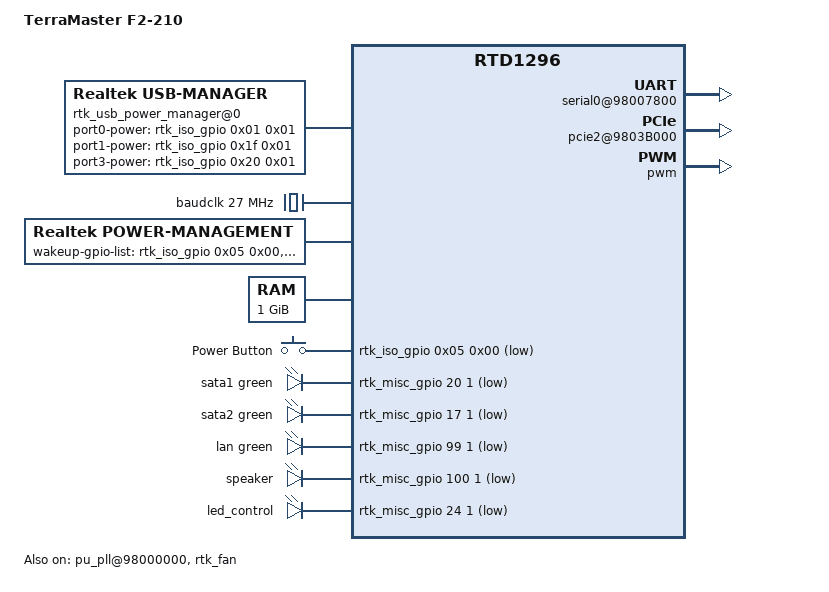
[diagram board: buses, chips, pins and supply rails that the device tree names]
// SPDX-License-Identifier: (GPL-2.0-or-later OR BSD-2-Clause)
/*
 * TerraMaster F2-210 devicetree
 * Copyright (c) 2021 Celliwig
 */

/dts-v1/;

#include <memory/rtd129x,memory.h>

/memreserve/ SYS_BOOTCODE_MEMBASE SYS_BOOTCODE_MEMSIZE;
/memreserve/ RPC_COMM_PHYS RPC_COMM_SIZE;
/memreserve/ RPC_RINGBUF_PHYS RPC_RINGBUF_SIZE;
/memreserve/ ROOTFS_NORMAL_START ROOTFS_NORMAL_SIZE;
/memreserve/ ACPU_IDMEM_PHYS ACPU_IDMEM_SIZE;
/memreserve/ TEE_OS_PHYS TEE_OS_SIZE;

#include <rtd-1296.dtsi>
#include <gpio/gpio.h>
#include <leds/common.h>

/ {
	compatible = "terramaster,f2-210", "realtek,rtd1296";
	model = "TerraMaster F2-210";

	aliases {
		serial0 = &uart0;
	};

	cpus {
		A53_0: cpu@0 {
			enable-method = "spin-table";
			cpu-release-addr = <0x0 0x0001E000>;
		};

		A53_1: cpu@1 {
			enable-method = "spin-table";
			cpu-release-addr = <0x0 0x0001E000>;
		};

		A53_2: cpu@2 {
			enable-method = "spin-table";
			cpu-release-addr = <0x0 0x0001E000>;
		};

		A53_3: cpu@3 {
			enable-method = "spin-table";
			cpu-release-addr = <0x0 0x0001E000>;
		};
	};

	pinctrl@9801A000 {
		pinctrl-names = "default";
		pinctrl-0 = <&sdcard_pins_low>,
			<&sdcard_pins_high>,
			<&uart0_pins>,
			<&uart1_pins>,
			<&uart2_pins_0>,
			<&i2c_pins_6>,
			<&pcie1_clk_pins>,
			<&pcie2_clk_pins>,
			<&rgmii0_pins>,
			<&ir_rx_pins>,
			<&ir_tx_pins>,
			<&spdif_pins>,
			<&spi_pins_loc_gpio>,
			<&pwm0_0_pins>,
			<&dc_fan_sensor_pins>,
			<&etn_led_pins>,
			<&gspi_pins>;
		status = "okay";
	};

	rtk_usb_power_manager@0 {
		compatible = "Realtek,usb-manager";
		realtek,port0-power-gpio = <&rtk_iso_gpio 0x01 0x01 0x00>;	/* USB DRD */
		realtek,port1-power-gpio = <&rtk_iso_gpio 0x1f 0x01 0x00>;	/* u2host power, output, default low */
		realtek,port3-power-gpio = <&rtk_iso_gpio 0x20 0x01 0x00>;	/* 1296 u3host power, output, default low */
		status = "okay";
	};

	firmware {
		optee {
			compatible = "linaro,optee-tz";
			method = "smc";
		};
	};

	arch_timer {
		clock-frequency = <27000000>;
	};

	rtk_misc_gpio: rtk_misc_gpio@9801b100 {
		gpios = <&rtk_misc_gpio 0x08 0x00 0x00>;
	};

	/* Add a fixed baudrate clock to make serial driver happy */
	baudclk: oscillator_27mhz {
		compatible = "fixed-clock";
		#clock-cells = <0>;
		clock-frequency = <27000000>;
		clock-output-names = "baudclk";
	};

//	uart0: serial0@98007800 {
//		compatible = "rtk,dw-apb-uart";
//		clocks = <&baudclk>, <&iclk_en CLK_EN_MISC_UR0>;
//		clock-names = "baudclk", "apb_pclk";
//		//clock-frequency = <0x19bfcc0>;
//
//		/delete-property/ interrupts;
//		/delete-property/ interrupt-parent;
//		/delete-property/ interrupts-st-mask;
//		status = "okay";
//	};

	serial0@98007800 {
		compatible = "rtk,dw-apb-uart";
		clocks = <&baudclk>, <&iclk_en CLK_EN_MISC_UR0>;
		clock-names = "baudclk", "apb_pclk";
		//clock-frequency = <0x19bfcc0>;
		status = "okay";
	};

	uart1: serial1@9801B200 {
		compatible = "snps,dw-apb-uart";
		status = "disabled";
	};

	hwnat: gmac@98060000 {
		compatible = "Realtek,rtd1295-hwnat";
		offload_enable = <0x01>;
		status = "disabled";
	};

	timer0@9801B000 {
		clock-frequency = <0x19bfcc0>;
	};

	timer1@9801B000 {
		clock-frequency = <0x325aa0>;
	};

	pcie2@9803B000 {
		compatible = "Realtek,rtd1295-pcie-slot2";
		speed-mode = <0x01>;
	};

	emmc@98012000 {
		compatible = "Realtek,rtk1295-emmc";
		status = "disabled";
	};

	pu_pll@98000000 {
		compatible = "Realtek,rtk1295-pu_pll";
		status = "okay";
	};

	spi_0: spi@9801BD00 {
		compatible = "Realtek,rtk129x-spi";
		status = "disabled";					/* Disabled in the original DTB!?! */
	};

	pwm: pwm@980070D0 {
		compatible = "Realtek,rtd1295-pwm";
		status = "okay";
		pwm_0 {
			enable = <1>;
			duty_rate = <0x32>;				/* default duty_rate 0 ~ 100 */
		};
		pwm_1 {
			enable = <1>;
			duty_rate = <0x32>;				/* default duty_rate 0 ~ 100 */
		};
	};

	rtk_fan: rtk_fan@9801BC00 {
		compatible = "Realtek,rtd129x-fan";
		reg = <0x9801BC00 0x14>, <0x9801A910 0x4>;
		interrupt-parent = <&mux_intc>;
		interrupts = <0x00 0x1d>;
		status = "okay";

		pwms = <&pwm 0x00 0x93f6>;				/* (1) pwm node (2) pwm id (3) out period_ns (1/26400 ns) */
		pwm-names = "pwm_fan";

		timer_target = <0x100000>;
		fan_debounce = <0x0>;					/* 0x0~0x7 */
		clocks = <&clk_en_2 CLK_EN_FAN>;
		clock-names = "clk_en_fan";
		resets = <&rst4 RSTN_FAN>;
		reset-names = "rstn_fan";
	};

	power-management {
		compatible = "Realtek,power-management";
		wakeup-gpio-list = <&rtk_iso_gpio 0x05 0x00 0x00>,	/* Power Key */
			<&rtk_iso_gpio 0x0e 0x00 0x00>,
			<&rtk_iso_gpio 0x21 0x00 0x00>;
		wakeup-gpio-enable = <1>, <0>, <1>;
		wakeup-gpio-activity = <1>, <0>, <0>;
	};

	rng@9801AA00 {
		compatible = "Realtek,rtk-rng";
		reg = <0x9801AA00 0x48>;
	};

	dptx@9803D000 {
		compatible = "Realtek,rtk-dptx";
		status = "disable";
	};

	chosen {
		stdout-path = "serial0:115200n8";
		compatible = "Realtek,rtk1295-cma_info";
		cma-region-enable = <0x01>;
		cma-region-info = <0x00 0x1000000 0x11000000>;
	};

	memory {
		device_type = "memory";
		reg = <0x00 0x40000000>;
	};

	reserved-memory {
		#address-cells = <1>;
		#size-cells = <1>;
		ranges;

		rbus@0 {
			compatible = "rsvmem-remap";
			save_remap_name = "rbus";
			reg = <RBUS_BASE_PHYS RBUS_BASE_SIZE>;
			rtk_rbus_barrier_flag;
		};

		common@0 {
			compatible = "rsvmem-remap";
			save_remap_name = "common";
			reg = <RPC_COMM_PHYS RPC_COMM_SIZE>;
		};

		ringbuf@0 {
			compatible = "rsvmem-remap";
			save_remap_name = "ringbuf";
			reg = <RPC_RINGBUF_PHYS RPC_RINGBUF_SIZE>;
		};
	};

	rtk,ion {
		compatible = "Realtek,rtk-ion";
		#address-cells = <1>;
		#size-cells = <0>;

		rtk,ion-heap@0 { /* SYSTEM_HEAP */
			compatible = "Realtek,rtk-ion-reserve";
			reg = <0>;
			rtk,memory-reservation-size = <0x0>;
		};

		rtk,ion-heap@1 { /* System contig */
			compatible = "Realtek,rtk-ion-reserve";
			reg = <1>;
			rtk,memory-reservation-size = <0x0>;
		};

		rtk,ion-heap@4 { /* DMA_HEAP */
			compatible = "Realtek,rtk-ion-reserve";
			reg = <4>;
			rtk,memory-reservation-size = <0x0>;
		};
	};

	fb {
		compatible = "Realtek,rtk-fb";
		buffer-cnt = <0x02>;
		resolution = <0x780 0x438>;
		fps = <0x3c>;
		pixel_format = <0x07>;
		status = "okay";
	};

	cec0@98037800 {
		status = "disabled";
	};

	gpio-keys {
		compatible = "gpio-keys";
		status = "okay";
		autorepeat;

		power-button {
			label = "Power Button";
			gpios = <&rtk_iso_gpio 0x05 0x00 0x01>;
			linux,code = <0x74>;
		};
	};

	rfkilligpio{
		status = "okay";
	};

	leds {
		compatible = "gpio-leds";

		sata1 {
			function = LED_FUNCTION_DISK;
			function-enumerator = <1>;
			color = <LED_COLOR_ID_GREEN>;
			gpios = <&rtk_misc_gpio 20 1 1>;		/* HDD1 LED, output, default on */
			default-state = "on";
			linux,default-trigger = "disk-activity";
			trigger-sources = <&ahci_sata 0>;
		};

		sata2 {
			function = LED_FUNCTION_DISK;
			function-enumerator = <2>;
			color = <LED_COLOR_ID_GREEN>;
			gpios = <&rtk_misc_gpio 17 1 1>;		/* HDD2 LED, output, default on */
			default-state = "on";
			linux,default-trigger = "disk-activity";
			trigger-sources = <&ahci_sata 1>;
		};

		lan {
			function = LED_FUNCTION_LAN;
			function-enumerator = <1>;
			color = <LED_COLOR_ID_GREEN>;
			gpios = <&rtk_misc_gpio 99 1 1>;		/* LAN LED, output, default on */
			default-state = "on";
			linux,default-trigger = "netdev";
			trigger-sources = <&nic>;
		};

		speaker {
			label = "speaker";
			gpios = <&rtk_misc_gpio 100 1 1>;		/* Piezo buzzer, output, default on (buzzer off) */
			default-state = "on";				/* Really, off */
			linux,default-trigger = "none";
		};

		led_control {
			label = "led_control";
			gpios = <&rtk_misc_gpio 24 1 1>;		/* LED control, output, default on */
			default-state = "on";
			linux,default-trigger = "none";
			panic-indicator;
		};
        };

//	/* Fixup SATA controller, disconnect unavailable devices */
//	/* This relies on U-Boot already having initialised device */
//	ahci_sata: sata@9803F000 {
////		/delete-property/ clocks;
//		sata-port@0 {
//			/delete-property/ phys;
////			/delete-property/ gpios;
//		};
//		sata-port@1 {
//			/delete-property/ phys;
////			/delete-property/ gpios;
//		};
//	};

	/* Fixup USB controllers, disconnect unavailable devices */
	/* This relies on U-Boot already having initialised device */
	dwc3_u2host: rtk_dwc3_u2host@98013E00 {
		dwc3_u2host@98029000 {
			/delete-property/ usb-phy;
		};
	};
	dwc3_u3host: rtk_dwc3_u3host@98013E00 {
		dwc3_u3host@981F0000 {
			/delete-property/ usb-phy;
		};
	};
};
